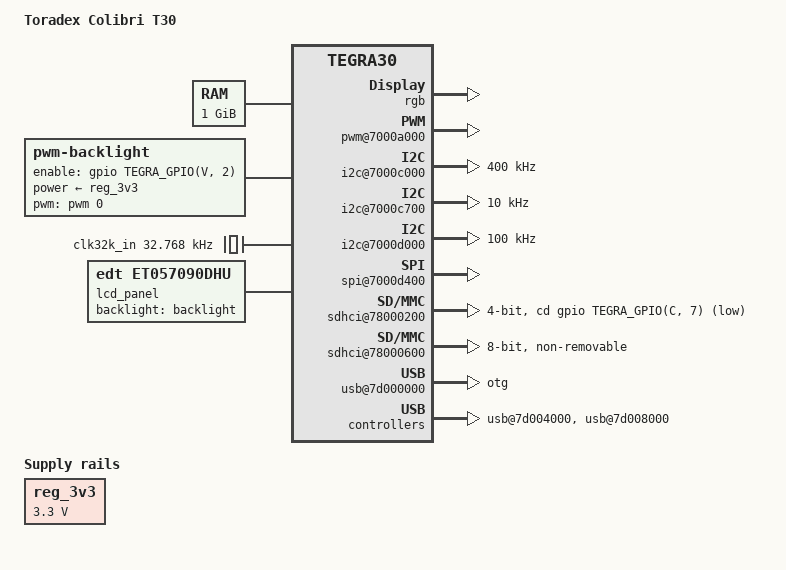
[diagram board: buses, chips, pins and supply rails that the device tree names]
/dts-v1/;

#include "tegra30.dtsi"

/ {
	model = "Toradex Colibri T30";
	compatible = "toradex,colibri_t30", "nvidia,tegra30";

	chosen {
		stdout-path = &uarta;
	};

	aliases {
		i2c0 = "/i2c@7000d000";
		i2c1 = "/i2c@7000c000";
		i2c2 = "/i2c@7000c700";
		mmc0 = "/sdhci@78000600";
		mmc1 = "/sdhci@78000200";
		spi0 = "/spi@7000d400";
		usb0 = "/usb@7d000000";
		usb1 = "/usb@7d004000"; /* on module only, for ASIX */
		usb2 = "/usb@7d008000";
	};

	memory {
		device_type = "memory";
		reg = <0x80000000 0x40000000>;
	};

	host1x@50000000 {
		dc@54200000 {
			rgb {
				status = "okay";
				nvidia,panel = <&lcd_panel>;
				display-timings {
					timing@0 {
						/* VESA VGA */
						clock-frequency = <25175000>;
						hactive = <640>;
						vactive = <480>;
						hback-porch = <48>;
						hfront-porch = <16>;
						hsync-len = <96>;
						vback-porch = <31>;
						vfront-porch = <11>;
						vsync-len = <2>;
					};
				};
			};
		};
	};

	pwm@7000a000 {
		status = "okay";
	};

	/*
	 * GEN1_I2C: I2C_SDA/SCL on SODIMM pin 194/196 (e.g. RTC on carrier
	 * board)
	 */
	i2c@7000c000 {
		status = "okay";
		clock-frequency = <400000>;
	};

	/* GEN2_I2C: unused */

	/* CAM_I2C: unused */

	/* DDC_CLOCK/DATA on X3 pin 15/16 (e.g. display EDID) */
	i2c@7000c700 {
		status = "okay";
		clock-frequency = <10000>;
	};

	/*
	 * PWR_I2C: power I2C to audio codec, PMIC, temperature sensor and
	 * touch screen controller
	 */
	i2c@7000d000 {
		status = "okay";
		clock-frequency = <100000>;
	};

	/* SPI1: Colibri SSP */
	spi@7000d400 {
		status = "okay";
		spi-max-frequency = <25000000>;
	};

	sdhci@78000200 {
		status = "okay";
		bus-width = <4>;
		cd-gpios = <&gpio TEGRA_GPIO(C, 7) GPIO_ACTIVE_LOW>; /* MMCD */
	};

	sdhci@78000600 {
		status = "okay";
		bus-width = <8>;
		non-removable;
	};

	/* EHCI instance 0: USB1_DP/N -> USBC_P/N */
	usb@7d000000 {
		status = "okay";
		dr_mode = "otg";
	};

	/* EHCI instance 1: USB2_DP/N -> AX88772B */
	usb@7d004000 {
		status = "okay";
		/* VBUS_LAN */
		nvidia,vbus-gpio = <&gpio TEGRA_GPIO(DD, 2) GPIO_ACTIVE_HIGH>;
	};

	/* EHCI instance 2: USB3_DP/N -> USBH_P/N */
	usb@7d008000 {
		status = "okay";
		/* USBH_PEN */
		nvidia,vbus-gpio = <&gpio TEGRA_GPIO(W, 2) GPIO_ACTIVE_LOW>;
	};

	backlight: backlight {
		compatible = "pwm-backlight";

		brightness-levels = <255 128 64 32 16 8 4 0>;
		default-brightness-level = <6>;
		/* BL_ON */
		enable-gpios = <&gpio TEGRA_GPIO(V, 2) GPIO_ACTIVE_HIGH>;
		power-supply = <&reg_3v3>;
		/* PWM<A> */
		pwms = <&pwm 0 5000000>;
	};

	clocks {
		compatible = "simple-bus";
		#address-cells = <1>;
		#size-cells = <0>;

		clk32k_in: clk@0 {
			compatible = "fixed-clock";
			reg=<0>;
			#clock-cells = <0>;
			clock-frequency = <32768>;
		};
	};

	lcd_panel: panel {
		/*
		 * edt,et057090dhu: EDT 5.7" LCD TFT
		 * edt,et070080dh6: EDT 7.0" LCD TFT
		 */
		compatible = "edt,et057090dhu", "simple-panel";

		backlight = <&backlight>;
	};

	regulators {
		compatible = "simple-bus";
		#address-cells = <1>;
		#size-cells = <0>;

		reg_3v3: regulator@0 {
			compatible = "regulator-fixed";
			reg = <0>;
			regulator-name = "+V3.3";
			regulator-min-microvolt = <3300000>;
			regulator-max-microvolt = <3300000>;
			regulator-always-on;
		};
	};
};
